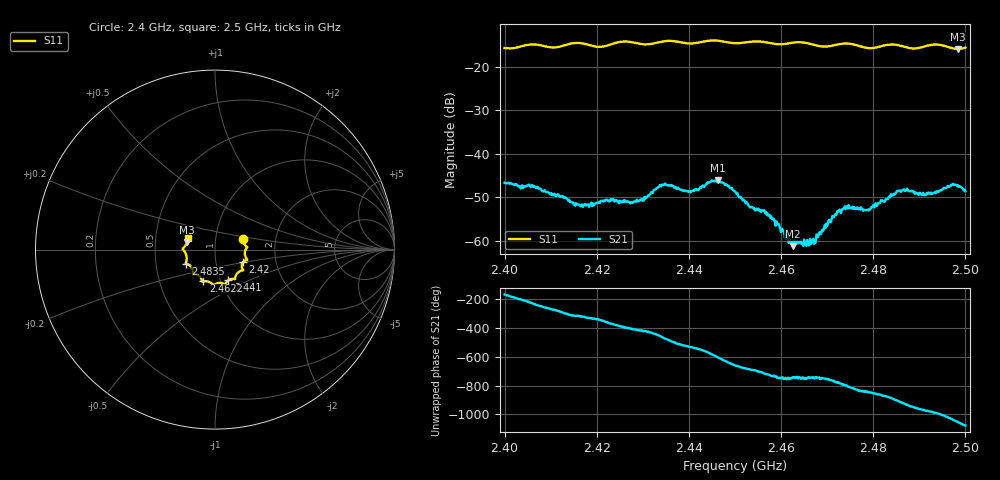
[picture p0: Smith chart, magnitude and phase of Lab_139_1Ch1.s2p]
# Hz S RI R 50
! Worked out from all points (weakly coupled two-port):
!   601 points, 2.4 GHz to 2.5 GHz, reference 50 ohm
!   highest |S21| = -46.05 dB at 2.4463 GHz (marker M1); lowest = -61.2 dB at 2.4625 GHz (marker M2)
!   lowest |S11| = -15.9 dB at 2.4983 GHz (marker M3), VSWR 1.38, Z = 36.5 + j3.1 ohm
!   |S11| at or under -10 dB: start of sweep to end of sweep
!   S12 and S22 are empty: the file has one direction only
!   S11 on the Smith chart (normalised r, x): 2.4 GHz: 1.35, +0.16; 2.42 GHz: 1.35, -0.20; 2.441 GHz: 1.09, -0.39; 2.4622 GHz: 0.83, -0.30; 2.4835 GHz: 0.71, -0.12; 2.5 GHz: 0.73, +0.10
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2.4e9  0.1538 0.0588  -0.00458 -0.000956  0 0  0 0
2.4065e9  0.1804 0.0144  -0.00247 0.00337  0 0  0 0
2.416667e9  0.1781 -0.0569  0.002 0.00163  0 0  0 0
2.42e9  0.1549 -0.0707  0.00254 0.000979  0 0  0 0
2.429333e9  0.1394 -0.1203  0.00158 -0.00246  0 0  0 0
2.433333e9  0.1133 -0.1537  2e-08 -0.00414  0 0  0 0
2.441e9  0.0749 -0.1705  -0.00383 -0.000187  0 0  0 0
2.446333e9  0.0521 -0.193  -0.00205 0.00454  0 0  0 0
2.45e9  0.025 -0.1854  0.00181 0.00323  0 0  0 0
2.453333e9  -0.0025 -0.1941  0.00209 0.00122  0 0  0 0
2.457833e9  -0.0236 -0.1849  0.00189 -0.000405  0 0  0 0
2.462167e9  -0.0646 -0.1769  0.00082 -0.000488  0 0  0 0
2.4625e9  -0.0667 -0.1774  0.000806 -0.000335  0 0  0 0
2.466667e9  -0.0749 -0.166  0.000884 -0.000379  0 0  0 0
2.472667e9  -0.1202 -0.1371  0.00102 -0.00205  0 0  0 0
2.478833e9  -0.1287 -0.1026  -0.00139 -0.00182  0 0  0 0
2.483333e9  -0.1615 -0.0787  -0.00299 -0.00105  0 0  0 0
2.4835e9  -0.162 -0.0788  -0.00311 -0.000983  0 0  0 0
2.486167e9  -0.1602 -0.0667  -0.00361 0.00116  0 0  0 0
2.491e9  -0.1706 -0.0094  -0.00117 0.00316  0 0  0 0
2.498333e9  -0.1552 0.0414  0.00382 0.00217  0 0  0 0
2.5e9  -0.1529 0.0656  0.00372 0.000193  0 0  0 0
